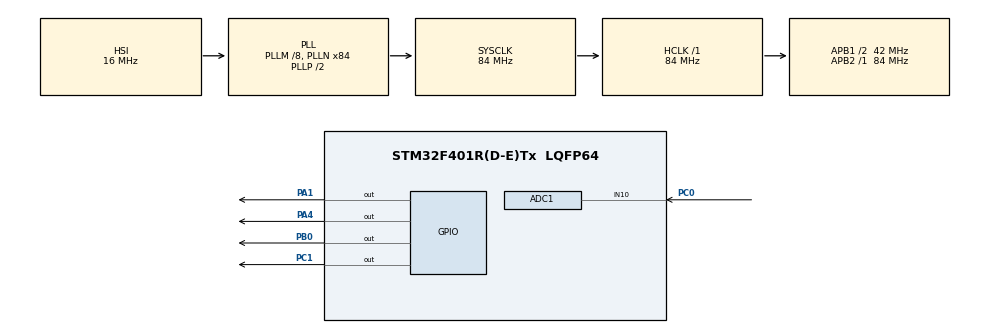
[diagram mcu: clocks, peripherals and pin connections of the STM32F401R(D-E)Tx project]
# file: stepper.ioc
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ADC1.Channel-0\#ChannelRegularConversion=ADC_CHANNEL_10
ADC1.NbrOfConversionFlag=1
ADC1.Rank-0\#ChannelRegularConversion=1
ADC1.SamplingTime-0\#ChannelRegularConversion=ADC_SAMPLETIME_3CYCLES
ADC1.master=1
Mcu.Family=STM32F4
Mcu.Name=STM32F401R(D-E)Tx
Mcu.Package=LQFP64
NVIC.PriorityGroup=NVIC_PRIORITYGROUP_4
PA1.Signal=GPIO_Output
PA13.Mode=Serial_Wire
PA13.Signal=SYS_JTMS-SWDIO
PA14.Mode=Serial_Wire
PA14.Signal=SYS_JTCK-SWCLK
PA4.Signal=GPIO_Output
PB0.PinState=GPIO_PIN_RESET
PB0.Signal=GPIO_Output
PC0.Signal=ADCx_IN10
PC1.Signal=GPIO_Output
PH0\ -\ OSC_IN.Mode=HSE-External-Oscillator
PH0\ -\ OSC_IN.Signal=RCC_OSC_IN
PH1\ -\ OSC_OUT.Mode=HSE-External-Oscillator
PH1\ -\ OSC_OUT.Signal=RCC_OSC_OUT
ProjectManager.HeapSize=0x200
ProjectManager.StackSize=0x400
ProjectManager.TargetToolchain=STM32CubeIDE
RCC.48MHZClocksFreq_Value=42000000
RCC.AHBFreq_Value=84000000
RCC.APB1CLKDivider=RCC_HCLK_DIV2
RCC.APB1Freq_Value=42000000
RCC.APB1TimFreq_Value=84000000
RCC.APB2Freq_Value=84000000
RCC.APB2TimFreq_Value=84000000
RCC.CortexFreq_Value=84000000
RCC.HCLKFreq_Value=84000000
RCC.HSE_VALUE=25000000
RCC.HSI_VALUE=16000000
RCC.LSE_VALUE=32768
RCC.PLLM=8
RCC.PLLN=84
RCC.SYSCLKFreq_VALUE=84000000
RCC.SYSCLKSource=RCC_SYSCLKSOURCE_PLLCLK
RCC.VCOOutputFreq_Value=168000000
SH.ADCx_IN10.0=ADC1_IN10,IN10
TIM1.Period=0xffff - 1
TIM1.Prescaler=84 - 1
VP_TIM1_VS_ClockSourceINT.Mode=Internal
board=custom

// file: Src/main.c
/* USER CODE BEGIN Header */
/**
  ******************************************************************************
  * @file           : main.c
  * @brief          : Main program body
  ******************************************************************************
  * @attention
  *
  * <h2><center>&copy; Copyright (c) 2021 STMicroelectronics.
  * All rights reserved.</center></h2>
  *
  * This software component is licensed by ST under BSD 3-Clause license,
  * the "License"; You may not use this file except in compliance with the
  * License. You may obtain a copy of the License at:
  *                        opensource.org/licenses/BSD-3-Clause
  *
  ******************************************************************************
  */
/* USER CODE END Header */
#include "main.h"

/* USER CODE BEGIN PD */
#define stepsperrev 4096
/* USER CODE END PD */

ADC_HandleTypeDef hadc1;

TIM_HandleTypeDef htim1;

void SystemClock_Config(void);
static void MX_GPIO_Init(void);
static void MX_TIM1_Init(void);
static void MX_ADC1_Init(void);

/* USER CODE BEGIN 0 */
void delay (uint16_t us)
{
  __HAL_TIM_SET_COUNTER(&htim1, 0);
  while ((uint16_t)__HAL_TIM_GET_COUNTER(&htim1) < us);
}

void stepper_set_rpm (int rpm)  // Set rpm--> max 13, min 1,,,  went to 14 rev/min
{
	delay(60000000/stepsperrev/rpm);
}

void stepper_half_drive (int step)
{
	switch (step){
		case 0:
			  HAL_GPIO_WritePin(GPIOA, GPIO_PIN_1, GPIO_PIN_SET);   // IN1
			  HAL_GPIO_WritePin(GPIOA, GPIO_PIN_4, GPIO_PIN_RESET);   // IN2
			  HAL_GPIO_WritePin(GPIOB, GPIO_PIN_0, GPIO_PIN_RESET);   // IN3
			  HAL_GPIO_WritePin(GPIOC, GPIO_PIN_1, GPIO_PIN_RESET);   // IN4
			  break;

		case 1:
			  HAL_GPIO_WritePin(GPIOA, GPIO_PIN_1, GPIO_PIN_SET);   // IN1
			  HAL_GPIO_WritePin(GPIOA, GPIO_PIN_4, GPIO_PIN_SET);   // IN2
			  HAL_GPIO_WritePin(GPIOB, GPIO_PIN_0, GPIO_PIN_RESET);   // IN3
			  HAL_GPIO_WritePin(GPIOC, GPIO_PIN_1, GPIO_PIN_RESET);   // IN4
			  break;

		case 2:
			  HAL_GPIO_WritePin(GPIOA, GPIO_PIN_1, GPIO_PIN_RESET);   // IN1
			  HAL_GPIO_WritePin(GPIOA, GPIO_PIN_4, GPIO_PIN_SET);   // IN2
			  HAL_GPIO_WritePin(GPIOB, GPIO_PIN_0, GPIO_PIN_RESET);   // IN3
			  HAL_GPIO_WritePin(GPIOC, GPIO_PIN_1, GPIO_PIN_RESET);   // IN4
			  break;

		case 3:
			  HAL_GPIO_WritePin(GPIOA, GPIO_PIN_1, GPIO_PIN_RESET);   // IN1
			  HAL_GPIO_WritePin(GPIOA, GPIO_PIN_4, GPIO_PIN_SET);   // IN2
			  HAL_GPIO_WritePin(GPIOB, GPIO_PIN_0, GPIO_PIN_SET);   // IN3
			  HAL_GPIO_WritePin(GPIOC, GPIO_PIN_1, GPIO_PIN_RESET);   // IN4
			  break;

		case 4:
			  HAL_GPIO_WritePin(GPIOA, GPIO_PIN_1, GPIO_PIN_RESET);   // IN1
			  HAL_GPIO_WritePin(GPIOA, GPIO_PIN_4, GPIO_PIN_RESET);   // IN2
			  HAL_GPIO_WritePin(GPIOB, GPIO_PIN_0, GPIO_PIN_SET);   // IN3
			  HAL_GPIO_WritePin(GPIOC, GPIO_PIN_1, GPIO_PIN_RESET);   // IN4
			  break;

		case 5:
			  HAL_GPIO_WritePin(GPIOA, GPIO_PIN_1, GPIO_PIN_RESET);   // IN1
			  HAL_GPIO_WritePin(GPIOA, GPIO_PIN_4, GPIO_PIN_RESET);   // IN2
			  HAL_GPIO_WritePin(GPIOB, GPIO_PIN_0, GPIO_PIN_SET);   // IN3
			  HAL_GPIO_WritePin(GPIOC, GPIO_PIN_1, GPIO_PIN_SET);   // IN4
			  break;

		case 6:
			  HAL_GPIO_WritePin(GPIOA, GPIO_PIN_1, GPIO_PIN_RESET);   // IN1
			  HAL_GPIO_WritePin(GPIOA, GPIO_PIN_4, GPIO_PIN_RESET);   // IN2
			  HAL_GPIO_WritePin(GPIOB, GPIO_PIN_0, GPIO_PIN_RESET);   // IN3
			  HAL_GPIO_WritePin(GPIOC, GPIO_PIN_1, GPIO_PIN_SET);   // IN4
			  break;

		case 7:
			  HAL_GPIO_WritePin(GPIOA, GPIO_PIN_1, GPIO_PIN_SET);   // IN1
			  HAL_GPIO_WritePin(GPIOA, GPIO_PIN_4, GPIO_PIN_RESET);   // IN2
			  HAL_GPIO_WritePin(GPIOB, GPIO_PIN_0, GPIO_PIN_RESET);   // IN3
			  HAL_GPIO_WritePin(GPIOC, GPIO_PIN_1, GPIO_PIN_SET);   // IN4
			  break;

		}
}

void stepper_stop() {
	HAL_GPIO_WritePin(GPIOA, GPIO_PIN_1, GPIO_PIN_RESET);   // IN1
	HAL_GPIO_WritePin(GPIOA, GPIO_PIN_4, GPIO_PIN_RESET);   // IN2
	HAL_GPIO_WritePin(GPIOB, GPIO_PIN_0, GPIO_PIN_RESET);   // IN3
	HAL_GPIO_WritePin(GPIOC, GPIO_PIN_1, GPIO_PIN_RESET);   // IN4
}

/* USER CODE END 0 */

int main(void)
{
  /* USER CODE BEGIN 1 */
	uint16_t data;
  /* USER CODE END 1 */

  /* MCU Configuration--------------------------------------------------------*/

  /* Reset of all peripherals, Initializes the Flash interface and the Systick. */
  HAL_Init();

  /* Configure the system clock */
  SystemClock_Config();

  /* Initialize all configured peripherals */
  MX_GPIO_Init();
  MX_TIM1_Init();
  MX_ADC1_Init();
  /* USER CODE BEGIN 2 */
  HAL_TIM_Base_Start(&htim1);
  /* USER CODE END 2 */

  /* Infinite loop */
  while (1)
  {

    /* USER CODE BEGIN 3 */

	  // Get ADC value from joystick
	     HAL_ADC_Start(&hadc1);
	     HAL_ADC_PollForConversion(&hadc1, HAL_MAX_DELAY);
	     data = HAL_ADC_GetValue(&hadc1);

	  // Joystick neutral position
	  if (data >= 1500 && data <= 3500) {
		  stepper_stop();
	  }
	  // Joystick left position
	  else if (data > 3500) {
		  for (int i = 7; i >= 0; i--) {
			  stepper_half_drive(i);
			  stepper_set_rpm(12);
		  }
	  }
	  // Joystick right position
	  else {
		  for (int i = 0; i < 8; i++) {
			  stepper_half_drive(i);
			  stepper_set_rpm(12);
		  }
	  }
  }
  /* USER CODE END 3 */
}

void SystemClock_Config(void)
{
  RCC_OscInitTypeDef RCC_OscInitStruct = {0};
  RCC_ClkInitTypeDef RCC_ClkInitStruct = {0};

  /** Configure the main internal regulator output voltage
  */
  __HAL_RCC_PWR_CLK_ENABLE();
  __HAL_PWR_VOLTAGESCALING_CONFIG(PWR_REGULATOR_VOLTAGE_SCALE2);
  /** Initializes the RCC Oscillators according to the specified parameters
  * in the RCC_OscInitTypeDef structure.
  */
  RCC_OscInitStruct.OscillatorType = RCC_OSCILLATORTYPE_HSI;
  RCC_OscInitStruct.HSIState = RCC_HSI_ON;
  RCC_OscInitStruct.HSICalibrationValue = RCC_HSICALIBRATION_DEFAULT;
  RCC_OscInitStruct.PLL.PLLState = RCC_PLL_ON;
  RCC_OscInitStruct.PLL.PLLSource = RCC_PLLSOURCE_HSI;
  RCC_OscInitStruct.PLL.PLLM = 8;
  RCC_OscInitStruct.PLL.PLLN = 84;
  RCC_OscInitStruct.PLL.PLLP = RCC_PLLP_DIV2;
  RCC_OscInitStruct.PLL.PLLQ = 4;
  if (HAL_RCC_OscConfig(&RCC_OscInitStruct) != HAL_OK)
  {
    Error_Handler();
  }
  /** Initializes the CPU, AHB and APB buses clocks
  */
  RCC_ClkInitStruct.ClockType = RCC_CLOCKTYPE_HCLK|RCC_CLOCKTYPE_SYSCLK
                              |RCC_CLOCKTYPE_PCLK1|RCC_CLOCKTYPE_PCLK2;
  RCC_ClkInitStruct.SYSCLKSource = RCC_SYSCLKSOURCE_PLLCLK;
  RCC_ClkInitStruct.AHBCLKDivider = RCC_SYSCLK_DIV1;
  RCC_ClkInitStruct.APB1CLKDivider = RCC_HCLK_DIV2;
  RCC_ClkInitStruct.APB2CLKDivider = RCC_HCLK_DIV1;

  if (HAL_RCC_ClockConfig(&RCC_ClkInitStruct, FLASH_LATENCY_2) != HAL_OK)
  {
    Error_Handler();
  }
}

static void MX_ADC1_Init(void)
{

  ADC_ChannelConfTypeDef sConfig = {0};

  /** Configure the global features of the ADC (Clock, Resolution, Data Alignment and number of conversion)
  */
  hadc1.Instance = ADC1;
  hadc1.Init.ClockPrescaler = ADC_CLOCK_SYNC_PCLK_DIV4;
  hadc1.Init.Resolution = ADC_RESOLUTION_12B;
  hadc1.Init.ScanConvMode = DISABLE;
  hadc1.Init.ContinuousConvMode = DISABLE;
  hadc1.Init.DiscontinuousConvMode = DISABLE;
  hadc1.Init.ExternalTrigConvEdge = ADC_EXTERNALTRIGCONVEDGE_NONE;
  hadc1.Init.ExternalTrigConv = ADC_SOFTWARE_START;
  hadc1.Init.DataAlign = ADC_DATAALIGN_RIGHT;
  hadc1.Init.NbrOfConversion = 1;
  hadc1.Init.DMAContinuousRequests = DISABLE;
  hadc1.Init.EOCSelection = ADC_EOC_SINGLE_CONV;
  if (HAL_ADC_Init(&hadc1) != HAL_OK)
  {
    Error_Handler();
  }
  /** Configure for the selected ADC regular channel its corresponding rank in the sequencer and its sample time.
  */
  sConfig.Channel = ADC_CHANNEL_10;
  sConfig.Rank = 1;
  sConfig.SamplingTime = ADC_SAMPLETIME_3CYCLES;
  if (HAL_ADC_ConfigChannel(&hadc1, &sConfig) != HAL_OK)
  {
    Error_Handler();
  }

}

static void MX_TIM1_Init(void)
{

  TIM_ClockConfigTypeDef sClockSourceConfig = {0};
  TIM_MasterConfigTypeDef sMasterConfig = {0};

  htim1.Instance = TIM1;
  htim1.Init.Prescaler = 84 - 1;
  htim1.Init.CounterMode = TIM_COUNTERMODE_UP;
  htim1.Init.Period = 0xffff - 1;
  htim1.Init.ClockDivision = TIM_CLOCKDIVISION_DIV1;
  htim1.Init.RepetitionCounter = 0;
  htim1.Init.AutoReloadPreload = TIM_AUTORELOAD_PRELOAD_DISABLE;
  if (HAL_TIM_Base_Init(&htim1) != HAL_OK)
  {
    Error_Handler();
  }
  sClockSourceConfig.ClockSource = TIM_CLOCKSOURCE_INTERNAL;
  if (HAL_TIM_ConfigClockSource(&htim1, &sClockSourceConfig) != HAL_OK)
  {
    Error_Handler();
  }
  sMasterConfig.MasterOutputTrigger = TIM_TRGO_RESET;
  sMasterConfig.MasterSlaveMode = TIM_MASTERSLAVEMODE_DISABLE;
  if (HAL_TIMEx_MasterConfigSynchronization(&htim1, &sMasterConfig) != HAL_OK)
  {
    Error_Handler();
  }

}

static void MX_GPIO_Init(void)
{
  GPIO_InitTypeDef GPIO_InitStruct = {0};

  /* GPIO Ports Clock Enable */
  __HAL_RCC_GPIOH_CLK_ENABLE();
  __HAL_RCC_GPIOC_CLK_ENABLE();
  __HAL_RCC_GPIOA_CLK_ENABLE();
  __HAL_RCC_GPIOB_CLK_ENABLE();

  /*Configure GPIO pin Output Level */
  HAL_GPIO_WritePin(GPIOC, GPIO_PIN_1, GPIO_PIN_RESET);

  /*Configure GPIO pin Output Level */
  HAL_GPIO_WritePin(GPIOA, GPIO_PIN_1|GPIO_PIN_4, GPIO_PIN_RESET);

  /*Configure GPIO pin Output Level */
  HAL_GPIO_WritePin(GPIOB, GPIO_PIN_0, GPIO_PIN_RESET);

  /*Configure GPIO pin : PC1 */
  GPIO_InitStruct.Pin = GPIO_PIN_1;
  GPIO_InitStruct.Mode = GPIO_MODE_OUTPUT_PP;
  GPIO_InitStruct.Pull = GPIO_NOPULL;
  GPIO_InitStruct.Speed = GPIO_SPEED_FREQ_LOW;
  HAL_GPIO_Init(GPIOC, &GPIO_InitStruct);

  /*Configure GPIO pins : PA1 PA4 */
  GPIO_InitStruct.Pin = GPIO_PIN_1|GPIO_PIN_4;
  GPIO_InitStruct.Mode = GPIO_MODE_OUTPUT_PP;
  GPIO_InitStruct.Pull = GPIO_NOPULL;
  GPIO_InitStruct.Speed = GPIO_SPEED_FREQ_LOW;
  HAL_GPIO_Init(GPIOA, &GPIO_InitStruct);

  /*Configure GPIO pin : PB0 */
  GPIO_InitStruct.Pin = GPIO_PIN_0;
  GPIO_InitStruct.Mode = GPIO_MODE_OUTPUT_PP;
  GPIO_InitStruct.Pull = GPIO_NOPULL;
  GPIO_InitStruct.Speed = GPIO_SPEED_FREQ_LOW;
  HAL_GPIO_Init(GPIOB, &GPIO_InitStruct);

}

void Error_Handler(void)
{
  __disable_irq();
  while (1)
  {
  }
}

/************************ (C) COPYRIGHT STMicroelectronics *****END OF FILE****/
